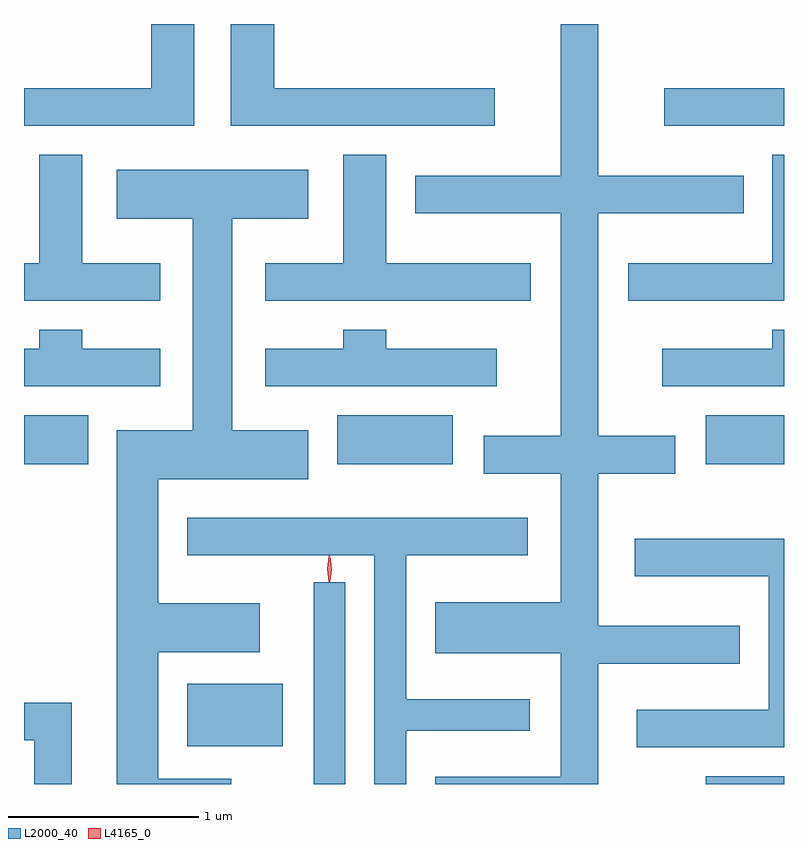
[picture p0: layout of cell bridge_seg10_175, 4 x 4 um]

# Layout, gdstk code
import gdstk
lib = gdstk.Library(unit=1e-6, precision=1e-09)
def R(c, l, rs):  # rectangles x0, y0, x1, y1
    for r in rs: c.add(gdstk.rectangle(r[:2], r[2:], *l))
def P(c, l, *ps):  # polygons
    for p in ps: c.add(gdstk.Polygon(p, *l))
L2000_40 = (2000, 40)
L4165_0 = (4165, 0)

bridge_seg10_175 = lib.new_cell('bridge_seg10_175')
R(bridge_seg10_175, L2000_40, [(1841.111,2141.112,1841.279,2142.173), (1843.176,2141.112,1843.587,2141.154), (1840.446,2141.311,1840.949,2141.639), (1839.587,2142.796,1839.924,2143.054), (1841.236,2142.796,1841.844,2143.054), (1843.176,2142.796,1843.587,2143.054), (1842.956,2144.576,1843.587,2144.774)])
P(bridge_seg10_175, L2000_40, [(1842.609,2141.746),(1843.354,2141.746),(1843.354,2141.944),(1842.609,2141.944),(1842.609,2142.746),(1843.014,2142.746),(1843.014,2142.944),(1842.609,2142.944),(1842.609,2144.116),(1843.374,2144.116),(1843.374,2144.314),(1842.609,2144.314),(1842.609,2145.112),(1842.411,2145.112),(1842.411,2144.314),(1841.646,2144.314),(1841.646,2144.116),(1842.411,2144.116),(1842.411,2142.944),(1842.006,2142.944),(1842.006,2142.746),(1842.411,2142.746),(1842.411,2142.069),(1841.751,2142.069),(1841.751,2141.801),(1842.411,2141.801),(1842.411,2141.149),(1841.751,2141.149),(1841.751,2141.112),(1842.609,2141.112)],
  [(1842.064,2144.774),(1840.904,2144.774),(1840.904,2145.112),(1840.676,2145.112),(1840.676,2144.576),(1842.064,2144.576)],
  [(1840.484,2145.112),(1840.256,2145.112),(1840.256,2144.774),(1839.587,2144.774),(1839.587,2144.576),(1840.484,2144.576)],
  [(1840.304,2143.854),(1839.894,2143.854),(1839.894,2144.424),(1839.666,2144.424),(1839.666,2143.854),(1839.587,2143.854),(1839.587,2143.656),(1840.304,2143.656)],
  [(1843.587,2144.424),(1843.526,2144.424),(1843.526,2143.854),(1842.766,2143.854),(1842.766,2143.656),(1843.587,2143.656)],
  [(1842.254,2143.854),(1841.494,2143.854),(1841.494,2144.424),(1841.266,2144.424),(1841.266,2143.854),(1840.856,2143.854),(1840.856,2143.656),(1842.254,2143.656)],
  [(1840.679,2141.139),(1840.294,2141.139),(1840.294,2141.806),(1840.829,2141.806),(1840.829,2142.064),(1840.294,2142.064),(1840.294,2142.716),(1841.084,2142.716),(1841.084,2142.974),(1840.684,2142.974),(1840.684,2144.086),(1841.084,2144.086),(1841.084,2144.344),(1840.076,2144.344),(1840.076,2144.086),(1840.476,2144.086),(1840.476,2142.974),(1840.076,2142.974),(1840.076,2141.112),(1840.679,2141.112)],
  [(1840.304,2143.404),(1839.894,2143.404),(1839.894,2143.504),(1839.666,2143.504),(1839.666,2143.404),(1839.587,2143.404),(1839.587,2143.206),(1840.304,2143.206)],
  [(1843.587,2143.504),(1843.526,2143.504),(1843.526,2143.404),(1842.946,2143.404),(1842.946,2143.206),(1843.587,2143.206)],
  [(1842.074,2143.404),(1841.494,2143.404),(1841.494,2143.504),(1841.266,2143.504),(1841.266,2143.404),(1840.856,2143.404),(1840.856,2143.206),(1842.074,2143.206)],
  [(1841.599,2141.391),(1842.248,2141.391),(1842.248,2141.559),(1841.599,2141.559),(1841.599,2142.316),(1842.239,2142.316),(1842.239,2142.514),(1840.446,2142.514),(1840.446,2142.316),(1841.431,2142.316),(1841.431,2141.112),(1841.599,2141.112)],
  [(1843.587,2142.404),(1842.801,2142.404),(1842.801,2142.206),(1843.506,2142.206),(1843.506,2141.504),(1842.811,2141.504),(1842.811,2141.306),(1843.587,2141.306)],
  [(1839.839,2141.539),(1839.587,2141.539),(1839.587,2141.341),(1839.641,2141.341),(1839.641,2141.112),(1839.839,2141.112)])
P(bridge_seg10_175, L4165_0, [(1841.192,2142.174),(1841.192,2142.175),(1841.182,2142.244),(1841.192,2142.313),(1841.192,2142.314),(1841.193,2142.313),(1841.202,2142.244),(1841.193,2142.175)],
  [(1841.197,2142.178),(1841.188,2142.244),(1841.198,2142.31),(1841.198,2142.311),(1841.199,2142.31),(1841.208,2142.244),(1841.198,2142.178),(1841.198,2142.178)])

lib.write_gds('bridge_seg10_175.gds')
